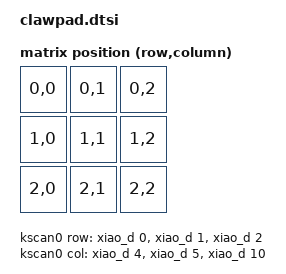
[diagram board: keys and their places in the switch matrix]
#include "clawpad-layouts.dtsi"
#include <dt-bindings/zmk/matrix_transform.h>

/ {
    chosen {
        zmk,physical-layout = &clawpad_layout;
        zmk,kscan = &kscan0;
    };

    default_transform: keymap_transform_0 {
        compatible = "zmk,matrix-transform";
        columns = <3>;
        rows = <3>;
//             | SW1 | SW2 | SW3 |
//             | SW4 | SW5 | SW6 |
//             | SW7 | SW8 | SW9 |
        map = <
            RC(0,0) RC(0,1) RC(0,2)
            RC(1,0) RC(1,1) RC(1,2)
            RC(2,0) RC(2,1) RC(2,2)
        >;
    };

    kscan0: kscan_0 {
        compatible = "zmk,kscan-gpio-matrix";
        label = "KSCAN";

        diode-direction = "col2row";
        row-gpios
            = <&xiao_d 0 (GPIO_ACTIVE_HIGH | GPIO_PULL_DOWN)>
            , <&xiao_d 1 (GPIO_ACTIVE_HIGH | GPIO_PULL_DOWN)>
            , <&xiao_d 2 (GPIO_ACTIVE_HIGH | GPIO_PULL_DOWN)>
            ;
        col-gpios
            = <&xiao_d 4 GPIO_ACTIVE_HIGH>
            , <&xiao_d 5 GPIO_ACTIVE_HIGH>
            , <&xiao_d 10 GPIO_ACTIVE_HIGH>
            ;
    };
};
